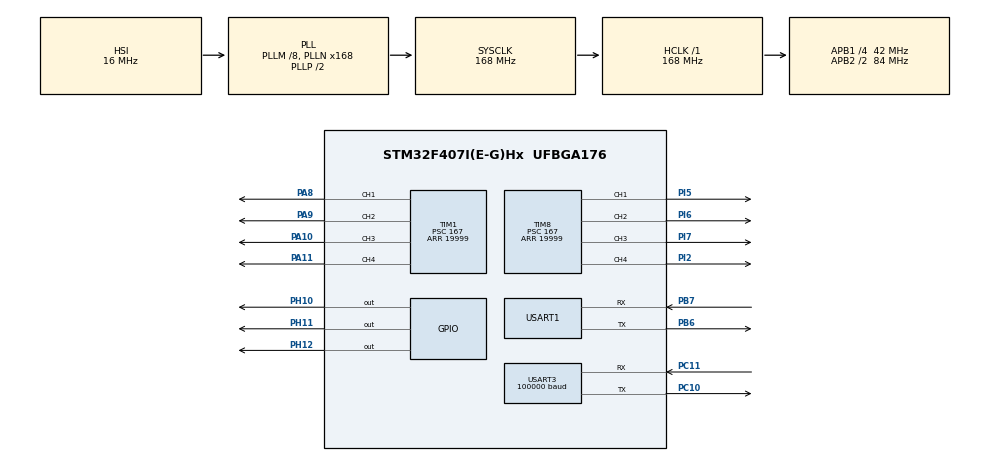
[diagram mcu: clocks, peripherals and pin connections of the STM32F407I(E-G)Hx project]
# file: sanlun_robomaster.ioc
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Dma.Request0=USART3_RX
Dma.USART3_RX.0.Direction=DMA_PERIPH_TO_MEMORY
Dma.USART3_RX.0.FIFOMode=DMA_FIFOMODE_DISABLE
Dma.USART3_RX.0.Instance=DMA1_Stream1
Dma.USART3_RX.0.MemDataAlignment=DMA_MDATAALIGN_BYTE
Dma.USART3_RX.0.MemInc=DMA_MINC_ENABLE
Dma.USART3_RX.0.Mode=DMA_NORMAL
Dma.USART3_RX.0.PeriphDataAlignment=DMA_PDATAALIGN_BYTE
Dma.USART3_RX.0.PeriphInc=DMA_PINC_DISABLE
Dma.USART3_RX.0.Priority=DMA_PRIORITY_LOW
Mcu.Family=STM32F4
Mcu.Name=STM32F407I(E-G)Hx
Mcu.Package=UFBGA176
NVIC.DMA1_Stream1_IRQn=true\:0\:0\:false\:false\:true\:false\:true\:true
NVIC.PriorityGroup=NVIC_PRIORITYGROUP_4
NVIC.USART3_IRQn=true\:0\:0\:false\:false\:true\:true\:true\:true
PA10.Signal=S_TIM1_CH3
PA11.Signal=S_TIM1_CH4
PA13.Mode=Serial_Wire
PA13.Signal=SYS_JTMS-SWDIO
PA14.Mode=Serial_Wire
PA14.Signal=SYS_JTCK-SWCLK
PA8.Signal=S_TIM1_CH1
PA9.Signal=S_TIM1_CH2
PB6.Mode=Asynchronous
PB6.Signal=USART1_TX
PB7.Mode=Asynchronous
PB7.Signal=USART1_RX
PC10.Mode=Asynchronous
PC10.Signal=USART3_TX
PC11.Mode=Asynchronous
PC11.Signal=USART3_RX
PH0-OSC_IN.Mode=HSE-External-Oscillator
PH0-OSC_IN.Signal=RCC_OSC_IN
PH1-OSC_OUT.Mode=HSE-External-Oscillator
PH1-OSC_OUT.Signal=RCC_OSC_OUT
PH10.GPIO_ModeDefaultOutputPP=GPIO_MODE_OUTPUT_PP
PH10.GPIO_PuPd=GPIO_NOPULL
PH10.GPIO_Speed=GPIO_SPEED_FREQ_LOW
PH10.PinState=GPIO_PIN_SET
PH10.Signal=GPIO_Output
PH11.GPIO_ModeDefaultOutputPP=GPIO_MODE_OUTPUT_PP
PH11.GPIO_PuPd=GPIO_NOPULL
PH11.GPIO_Speed=GPIO_SPEED_FREQ_LOW
PH11.PinState=GPIO_PIN_SET
PH11.Signal=GPIO_Output
PH12.GPIO_ModeDefaultOutputPP=GPIO_MODE_OUTPUT_PP
PH12.GPIO_PuPd=GPIO_NOPULL
PH12.GPIO_Speed=GPIO_SPEED_FREQ_LOW
PH12.PinState=GPIO_PIN_SET
PH12.Signal=GPIO_Output
PI2.Signal=S_TIM8_CH4
PI5.Signal=S_TIM8_CH1
PI6.Signal=S_TIM8_CH2
PI7.Signal=S_TIM8_CH3
ProjectManager.HeapSize=0x200
ProjectManager.StackSize=0x400
ProjectManager.TargetToolchain=MDK-ARM V5.32
RCC.48MHZClocksFreq_Value=84000000
RCC.AHBFreq_Value=168000000
RCC.APB1CLKDivider=RCC_HCLK_DIV4
RCC.APB1Freq_Value=42000000
RCC.APB1TimFreq_Value=84000000
RCC.APB2CLKDivider=RCC_HCLK_DIV2
RCC.APB2Freq_Value=84000000
RCC.APB2TimFreq_Value=168000000
RCC.CortexFreq_Value=168000000
RCC.HCLKFreq_Value=168000000
RCC.HSE_VALUE=25000000
RCC.HSI_VALUE=16000000
RCC.LSE_VALUE=32768
RCC.PLLM=8
RCC.PLLN=168
RCC.SYSCLKFreq_VALUE=168000000
RCC.SYSCLKSource=RCC_SYSCLKSOURCE_PLLCLK
RCC.VCOOutputFreq_Value=336000000
SH.S_TIM1_CH1.0=TIM1_CH1,PWM Generation1 CH1
SH.S_TIM1_CH2.0=TIM1_CH2,PWM Generation2 CH2
SH.S_TIM1_CH3.0=TIM1_CH3,PWM Generation3 CH3
SH.S_TIM1_CH4.0=TIM1_CH4,PWM Generation4 CH4
SH.S_TIM8_CH1.0=TIM8_CH1,PWM Generation1 CH1
SH.S_TIM8_CH2.0=TIM8_CH2,PWM Generation2 CH2
SH.S_TIM8_CH3.0=TIM8_CH3,PWM Generation3 CH3
SH.S_TIM8_CH4.0=TIM8_CH4,PWM Generation4 CH4
TIM1.Channel-PWM\ Generation1\ CH1=TIM_CHANNEL_1
TIM1.Channel-PWM\ Generation2\ CH2=TIM_CHANNEL_2
TIM1.Channel-PWM\ Generation3\ CH3=TIM_CHANNEL_3
TIM1.Channel-PWM\ Generation4\ CH4=TIM_CHANNEL_4
TIM1.Period=19999
TIM1.Prescaler=167
TIM8.Channel-PWM\ Generation1\ CH1=TIM_CHANNEL_1
TIM8.Channel-PWM\ Generation2\ CH2=TIM_CHANNEL_2
TIM8.Channel-PWM\ Generation3\ CH3=TIM_CHANNEL_3
TIM8.Channel-PWM\ Generation4\ CH4=TIM_CHANNEL_4
TIM8.Period=19999
TIM8.Prescaler=167
USART1.VirtualMode=VM_ASYNC
USART3.BaudRate=100000
USART3.Parity=PARITY_EVEN
USART3.StopBits=STOPBITS_2
USART3.VirtualMode=VM_ASYNC
USART3.WordLength=WORDLENGTH_9B
board=custom

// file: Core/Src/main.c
/* USER CODE BEGIN Header */
/**
  ******************************************************************************
  * @file           : main.c
  * @brief          : Main program body
  ******************************************************************************
  * @attention
  *
  * Copyright (c) 2026 STMicroelectronics.
  * All rights reserved.
  *
  * This software is licensed under terms that can be found in the LICENSE file
  * in the root directory of this software component.
  * If no LICENSE file comes with this software, it is provided AS-IS.
  *
  ******************************************************************************
  */
/* USER CODE END Header */
#include "main.h"

/* USER CODE BEGIN Includes */
#include "sbus.h"
#include "servo.h"
/* USER CODE END Includes */

TIM_HandleTypeDef htim1;
TIM_HandleTypeDef htim8;

UART_HandleTypeDef huart1;
UART_HandleTypeDef huart3;
DMA_HandleTypeDef hdma_usart3_rx;

void SystemClock_Config(void);
static void MX_GPIO_Init(void);
static void MX_DMA_Init(void);
static void MX_TIM1_Init(void);
static void MX_TIM8_Init(void);
static void MX_USART1_UART_Init(void);
static void MX_USART3_UART_Init(void);

int main(void)
{

  /* MCU Configuration--------------------------------------------------------*/

  /* Reset of all peripherals, Initializes the Flash interface and the Systick. */
  HAL_Init();

  /* Configure the system clock */
  SystemClock_Config();

  /* Initialize all configured peripherals */
  MX_GPIO_Init();
  MX_DMA_Init();
  MX_TIM1_Init();
  MX_TIM8_Init();
  MX_USART1_UART_Init();
  MX_USART3_UART_Init();
  /* USER CODE BEGIN 2 */
  // 初始化SBUS和舵机
  SBUS_Init();
  Servo_Init();

  // LED闪烁计数器
  uint32_t led_tick = 0;

  /* USER CODE END 2 */

  // =========================================================
  // 🛠️ 【终极调车环节：寻找三颗"魔法数字"】 🛠️
  // 现象：摇杆不碰时，某个轮子还在轻微转动。
  // 规律：
  // - 如果轮子缓慢【后退】，说明补偿不够，把数字【改大】（比如从20改成 30, 40, 50...）
  // - 如果轮子缓慢【前进】，说明补偿过头，把数字【改小】（比如从20改成 10, 0, 甚至 -10, -20...）
  // 请反复修改下面三个数字并烧录，直到开机后三个轮子绝对静止！
  // =========================================================
  #define TRIM_M1  -10  // 👈 1号大轮的专属补偿值 (请根据实际情况改动)
  #define TRIM_M3  -20  // 👈 3号小轮的专属补偿值
  #define TRIM_M4  -10  // 👈 4号大轮的专属补偿值

  /* Infinite loop */
  /* USER CODE BEGIN WHILE */
  while (1)
  {
    // ====== LED 状态指示 ======
    led_tick++;
    if(led_tick >= 50)
    {
      led_tick = 0;
      HAL_GPIO_TogglePin(GPIOH, GPIO_PIN_10);  // 蓝灯闪烁 (系统心跳)
    }

    // 信号状态灯
    if(SBUS_IsValid()) {
      HAL_GPIO_WritePin(GPIOH, GPIO_PIN_12, GPIO_PIN_RESET);  // 绿灯常亮
      HAL_GPIO_WritePin(GPIOH, GPIO_PIN_11, GPIO_PIN_SET);    // 红灯灭
    } else {
      HAL_GPIO_WritePin(GPIOH, GPIO_PIN_12, GPIO_PIN_SET);    // 绿灯灭
      HAL_GPIO_WritePin(GPIOH, GPIO_PIN_11, GPIO_PIN_RESET);  // 红灯亮
    }

    SBUS_Process();

    // ====== 双模式控制 ======
    if (SBUS_IsValid())
    {
        int16_t channel2 = SBUS_GetChannel(2);  // 【右摇杆 上下】 控制轮子

        int16_t channel10 = SBUS_GetChannel(10); // 【CH10】 模式切换
        int16_t channel6 = SBUS_GetChannel(6);   // 【CH6】 单独控制1号轮
        int16_t channel8 = SBUS_GetChannel(8);   // 【CH8】 单独控制3号轮
        int16_t channel9 = SBUS_GetChannel(9);   // 【CH9】 单独控制4号轮
        int16_t channel3 = SBUS_GetChannel(3);   // 【左摇杆 上下】 控制转向

        int16_t servo1_speed = 0;
        int16_t servo3_speed = 0;
        int16_t servo4_speed = 0;

        // 计算右摇杆上下速度
        int16_t ch2_offset = channel2 - 1024;
        int16_t ch2_speed = 0;
        if (ch2_offset > -50 && ch2_offset < 50) {
            ch2_speed = 0;  // 死区
        } else if (ch2_offset >= 50) {
            ch2_speed = (ch2_offset * 1000) / (1700 - 1024);
        } else {
            ch2_speed = (ch2_offset * 1000) / (1024 - 300);
        }

        // 限幅
        if (ch2_speed > 1000) ch2_speed = 1000;
        if (ch2_speed < -1000) ch2_speed = -1000;

        if (channel10 >= 1000)
        {
            // ====== 同步模式：CH10开启，三个轮子一起动 + 转向 ======
            servo1_speed = -(ch2_speed * 50) / 63;  // 1号大轮
            servo3_speed = -ch2_speed;             // 3号小轮
            servo4_speed = -(ch2_speed * 50) / 63; // 4号大轮

            // CH3控制转向舵机（方向取反）
            int16_t ch3_offset = channel3 - 1024;
            uint16_t steer_pulse = 1500;
            if (ch3_offset > -30 && ch3_offset < 30) {
                steer_pulse = 1500;  // 死区：中位
            } else if (ch3_offset >= 30) {
                steer_pulse = 1500 - (ch3_offset * 1000) / (1700 - 1024);
            } else {
                steer_pulse = 1500 - (ch3_offset * 1000) / (1024 - 300);
            }
            if (steer_pulse < 500) steer_pulse = 500;
            if (steer_pulse > 2500) steer_pulse = 2500;
            Servo_Set180(2, steer_pulse);
        }
        else
        {
            // ====== 独立模式：CH6/CH8/CH9分别控制各轮 ======
            // CH6拨杆控制1号轮（大轮，需50/63换算，方向取反）
            if (channel6 >= 1000) {
                servo1_speed = -(ch2_speed * 50) / 63;
            }

            // CH8拨杆控制3号轮（小轮，直接输出，方向取反）
            if (channel8 >= 1000) {
                servo3_speed = -ch2_speed;
            }

            // CH9拨杆控制4号轮（大轮，需50/63换算，方向取反）
            if (channel9 >= 1000) {
                servo4_speed = -(ch2_speed * 50) / 63;
            }

            // 独立模式时转向舵机锁定中位
            Servo_Set180(2, 1500);
        }

        // 下发速度指令 (带着物理微调补偿)
        Servo_Set360(1, servo1_speed + TRIM_M1);
        Servo_Set360(3, servo3_speed + TRIM_M3);
        Servo_Set360(4, servo4_speed + TRIM_M4);
    }
    else
    {
        // ====== 完美的断电失控保护 =====
        // ！！！失控时绝对不能发 0，必须发微调补偿值，否则关控后车依然会倒退 !!!
        Servo_Set360(1, TRIM_M1);
        Servo_Set360(3, TRIM_M3);
        Servo_Set360(4, TRIM_M4);
        Servo_Set180(2, 1500);  // 失控时转向锁定中位
    }

    HAL_Delay(10);
  }
  /* USER CODE END WHILE */
}

void SystemClock_Config(void)
{
  RCC_OscInitTypeDef RCC_OscInitStruct = {0};
  RCC_ClkInitTypeDef RCC_ClkInitStruct = {0};

  /** Configure the main internal regulator output voltage
  */
  __HAL_RCC_PWR_CLK_ENABLE();
  __HAL_PWR_VOLTAGESCALING_CONFIG(PWR_REGULATOR_VOLTAGE_SCALE1);

  /** Initializes the RCC Oscillators according to the specified parameters
  * in the RCC_OscInitTypeDef structure.
  */
  RCC_OscInitStruct.OscillatorType = RCC_OSCILLATORTYPE_HSI;
  RCC_OscInitStruct.HSIState = RCC_HSI_ON;
  RCC_OscInitStruct.HSICalibrationValue = RCC_HSICALIBRATION_DEFAULT;
  RCC_OscInitStruct.PLL.PLLState = RCC_PLL_ON;
  RCC_OscInitStruct.PLL.PLLSource = RCC_PLLSOURCE_HSI;
  RCC_OscInitStruct.PLL.PLLM = 8;
  RCC_OscInitStruct.PLL.PLLN = 168;
  RCC_OscInitStruct.PLL.PLLP = RCC_PLLP_DIV2;
  RCC_OscInitStruct.PLL.PLLQ = 4;
  if (HAL_RCC_OscConfig(&RCC_OscInitStruct) != HAL_OK)
  {
    Error_Handler();
  }

  /** Initializes the CPU, AHB and APB buses clocks
  */
  RCC_ClkInitStruct.ClockType = RCC_CLOCKTYPE_HCLK|RCC_CLOCKTYPE_SYSCLK
                              |RCC_CLOCKTYPE_PCLK1|RCC_CLOCKTYPE_PCLK2;
  RCC_ClkInitStruct.SYSCLKSource = RCC_SYSCLKSOURCE_PLLCLK;
  RCC_ClkInitStruct.AHBCLKDivider = RCC_SYSCLK_DIV1;
  RCC_ClkInitStruct.APB1CLKDivider = RCC_HCLK_DIV4;
  RCC_ClkInitStruct.APB2CLKDivider = RCC_HCLK_DIV2;

  if (HAL_RCC_ClockConfig(&RCC_ClkInitStruct, FLASH_LATENCY_5) != HAL_OK)
  {
    Error_Handler();
  }
}

static void MX_TIM1_Init(void)
{

  TIM_MasterConfigTypeDef sMasterConfig = {0};
  TIM_OC_InitTypeDef sConfigOC = {0};
  TIM_BreakDeadTimeConfigTypeDef sBreakDeadTimeConfig = {0};

  htim1.Instance = TIM1;
  htim1.Init.Prescaler = 167;
  htim1.Init.CounterMode = TIM_COUNTERMODE_UP;
  htim1.Init.Period = 19999;
  htim1.Init.ClockDivision = TIM_CLOCKDIVISION_DIV1;
  htim1.Init.RepetitionCounter = 0;
  htim1.Init.AutoReloadPreload = TIM_AUTORELOAD_PRELOAD_DISABLE;
  if (HAL_TIM_PWM_Init(&htim1) != HAL_OK)
  {
    Error_Handler();
  }
  sMasterConfig.MasterOutputTrigger = TIM_TRGO_RESET;
  sMasterConfig.MasterSlaveMode = TIM_MASTERSLAVEMODE_DISABLE;
  if (HAL_TIMEx_MasterConfigSynchronization(&htim1, &sMasterConfig) != HAL_OK)
  {
    Error_Handler();
  }
  sConfigOC.OCMode = TIM_OCMODE_PWM1;
  sConfigOC.Pulse = 0;
  sConfigOC.OCPolarity = TIM_OCPOLARITY_HIGH;
  sConfigOC.OCNPolarity = TIM_OCNPOLARITY_HIGH;
  sConfigOC.OCFastMode = TIM_OCFAST_DISABLE;
  sConfigOC.OCIdleState = TIM_OCIDLESTATE_RESET;
  sConfigOC.OCNIdleState = TIM_OCNIDLESTATE_RESET;
  if (HAL_TIM_PWM_ConfigChannel(&htim1, &sConfigOC, TIM_CHANNEL_1) != HAL_OK)
  {
    Error_Handler();
  }
  if (HAL_TIM_PWM_ConfigChannel(&htim1, &sConfigOC, TIM_CHANNEL_2) != HAL_OK)
  {
    Error_Handler();
  }
  if (HAL_TIM_PWM_ConfigChannel(&htim1, &sConfigOC, TIM_CHANNEL_3) != HAL_OK)
  {
    Error_Handler();
  }
  if (HAL_TIM_PWM_ConfigChannel(&htim1, &sConfigOC, TIM_CHANNEL_4) != HAL_OK)
  {
    Error_Handler();
  }
  sBreakDeadTimeConfig.OffStateRunMode = TIM_OSSR_DISABLE;
  sBreakDeadTimeConfig.OffStateIDLEMode = TIM_OSSI_DISABLE;
  sBreakDeadTimeConfig.LockLevel = TIM_LOCKLEVEL_OFF;
  sBreakDeadTimeConfig.DeadTime = 0;
  sBreakDeadTimeConfig.BreakState = TIM_BREAK_DISABLE;
  sBreakDeadTimeConfig.BreakPolarity = TIM_BREAKPOLARITY_HIGH;
  sBreakDeadTimeConfig.AutomaticOutput = TIM_AUTOMATICOUTPUT_DISABLE;
  if (HAL_TIMEx_ConfigBreakDeadTime(&htim1, &sBreakDeadTimeConfig) != HAL_OK)
  {
    Error_Handler();
  }
  HAL_TIM_MspPostInit(&htim1);

}

static void MX_TIM8_Init(void)
{

  TIM_MasterConfigTypeDef sMasterConfig = {0};
  TIM_OC_InitTypeDef sConfigOC = {0};
  TIM_BreakDeadTimeConfigTypeDef sBreakDeadTimeConfig = {0};

  htim8.Instance = TIM8;
  htim8.Init.Prescaler = 167;
  htim8.Init.CounterMode = TIM_COUNTERMODE_UP;
  htim8.Init.Period = 19999;
  htim8.Init.ClockDivision = TIM_CLOCKDIVISION_DIV1;
  htim8.Init.RepetitionCounter = 0;
  htim8.Init.AutoReloadPreload = TIM_AUTORELOAD_PRELOAD_DISABLE;
  if (HAL_TIM_PWM_Init(&htim8) != HAL_OK)
  {
    Error_Handler();
  }
  sMasterConfig.MasterOutputTrigger = TIM_TRGO_RESET;
  sMasterConfig.MasterSlaveMode = TIM_MASTERSLAVEMODE_DISABLE;
  if (HAL_TIMEx_MasterConfigSynchronization(&htim8, &sMasterConfig) != HAL_OK)
  {
    Error_Handler();
  }
  sConfigOC.OCMode = TIM_OCMODE_PWM1;
  sConfigOC.Pulse = 0;
  sConfigOC.OCPolarity = TIM_OCPOLARITY_HIGH;
  sConfigOC.OCNPolarity = TIM_OCNPOLARITY_HIGH;
  sConfigOC.OCFastMode = TIM_OCFAST_DISABLE;
  sConfigOC.OCIdleState = TIM_OCIDLESTATE_RESET;
  sConfigOC.OCNIdleState = TIM_OCNIDLESTATE_RESET;
  if (HAL_TIM_PWM_ConfigChannel(&htim8, &sConfigOC, TIM_CHANNEL_1) != HAL_OK)
  {
    Error_Handler();
  }
  if (HAL_TIM_PWM_ConfigChannel(&htim8, &sConfigOC, TIM_CHANNEL_2) != HAL_OK)
  {
    Error_Handler();
  }
  if (HAL_TIM_PWM_ConfigChannel(&htim8, &sConfigOC, TIM_CHANNEL_3) != HAL_OK)
  {
    Error_Handler();
  }
  if (HAL_TIM_PWM_ConfigChannel(&htim8, &sConfigOC, TIM_CHANNEL_4) != HAL_OK)
  {
    Error_Handler();
  }
  sBreakDeadTimeConfig.OffStateRunMode = TIM_OSSR_DISABLE;
  sBreakDeadTimeConfig.OffStateIDLEMode = TIM_OSSI_DISABLE;
  sBreakDeadTimeConfig.LockLevel = TIM_LOCKLEVEL_OFF;
  sBreakDeadTimeConfig.DeadTime = 0;
  sBreakDeadTimeConfig.BreakState = TIM_BREAK_DISABLE;
  sBreakDeadTimeConfig.BreakPolarity = TIM_BREAKPOLARITY_HIGH;
  sBreakDeadTimeConfig.AutomaticOutput = TIM_AUTOMATICOUTPUT_DISABLE;
  if (HAL_TIMEx_ConfigBreakDeadTime(&htim8, &sBreakDeadTimeConfig) != HAL_OK)
  {
    Error_Handler();
  }
  HAL_TIM_MspPostInit(&htim8);

}

static void MX_USART1_UART_Init(void)
{

  huart1.Instance = USART1;
  huart1.Init.BaudRate = 115200;
  huart1.Init.WordLength = UART_WORDLENGTH_8B;
  huart1.Init.StopBits = UART_STOPBITS_1;
  huart1.Init.Parity = UART_PARITY_NONE;
  huart1.Init.Mode = UART_MODE_TX_RX;
  huart1.Init.HwFlowCtl = UART_HWCONTROL_NONE;
  huart1.Init.OverSampling = UART_OVERSAMPLING_16;
  if (HAL_UART_Init(&huart1) != HAL_OK)
  {
    Error_Handler();
  }

}

static void MX_USART3_UART_Init(void)
{

  huart3.Instance = USART3;
  huart3.Init.BaudRate = 100000;
  huart3.Init.WordLength = UART_WORDLENGTH_9B;
  huart3.Init.StopBits = UART_STOPBITS_2;
  huart3.Init.Parity = UART_PARITY_EVEN;
  huart3.Init.Mode = UART_MODE_TX_RX;
  huart3.Init.HwFlowCtl = UART_HWCONTROL_NONE;
  huart3.Init.OverSampling = UART_OVERSAMPLING_16;
  if (HAL_UART_Init(&huart3) != HAL_OK)
  {
    Error_Handler();
  }

}

static void MX_DMA_Init(void)
{

  /* DMA controller clock enable */
  __HAL_RCC_DMA1_CLK_ENABLE();

  /* DMA interrupt init */
  /* DMA1_Stream1_IRQn interrupt configuration */
  HAL_NVIC_SetPriority(DMA1_Stream1_IRQn, 0, 0);
  HAL_NVIC_EnableIRQ(DMA1_Stream1_IRQn);

}

static void MX_GPIO_Init(void)
{
  GPIO_InitTypeDef GPIO_InitStruct = {0};

  /* GPIO Ports Clock Enable */
  __HAL_RCC_GPIOA_CLK_ENABLE();
  __HAL_RCC_GPIOB_CLK_ENABLE();
  __HAL_RCC_GPIOC_CLK_ENABLE();
  __HAL_RCC_GPIOI_CLK_ENABLE();
  __HAL_RCC_GPIOH_CLK_ENABLE();

  /*Configure GPIO pin Output Level */
  HAL_GPIO_WritePin(GPIOH, GPIO_PIN_12|GPIO_PIN_11|GPIO_PIN_10, GPIO_PIN_SET);

  /*Configure GPIO pins : PH12 PH11 PH10 */
  GPIO_InitStruct.Pin = GPIO_PIN_12|GPIO_PIN_11|GPIO_PIN_10;
  GPIO_InitStruct.Mode = GPIO_MODE_OUTPUT_PP;
  GPIO_InitStruct.Pull = GPIO_NOPULL;
  GPIO_InitStruct.Speed = GPIO_SPEED_FREQ_LOW;
  HAL_GPIO_Init(GPIOH, &GPIO_InitStruct);

}

void Error_Handler(void)
{
  __disable_irq();
  while (1)
  {
  }
}
